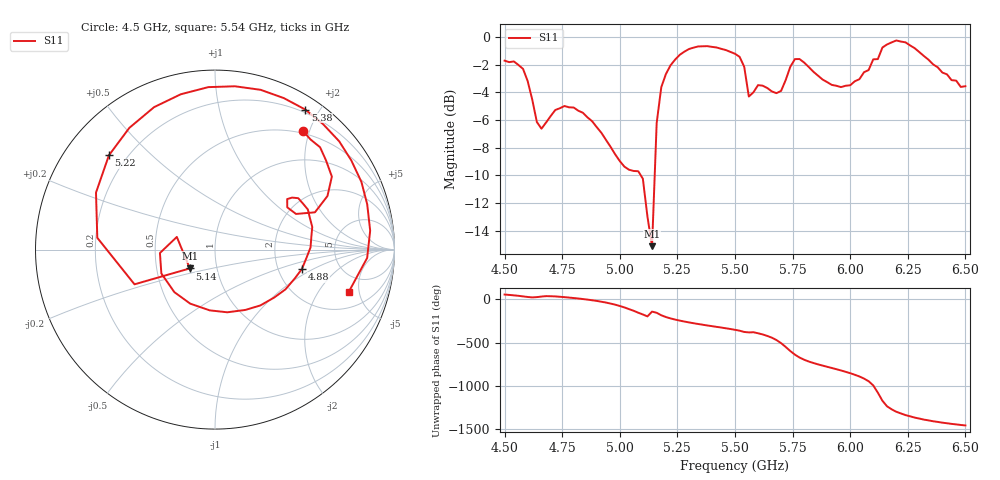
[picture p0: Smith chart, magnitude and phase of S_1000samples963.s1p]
! TOUCHSTONE file generated by CST MICROWAVE STUDIO
! Date and time: Sat Oct 29 22:42:42 2022
! Project name: L.cst
! Parameters = {Di=1.27; Epsilon_r=1.56; InnerDiameter=1.27; Length=2; Lf=10; Lg=60; OuterConductorThickness=0.2921; OuterDiameter=3.6; Wf=3; Wp=41.2; de=1.5; df=6.8; g=0.8; gx=1.50609; gy=0.427079; h=2.34; hf=1.524; px=9.32727; py=14.0924; w=9.7; wx=7.82118; wy=13.6653}
! Header version: 2018
! Port assignment regex: !\s*Touchstone port\s*([0-9]+)\s*=\s*(CST MWS port|CST DS port)\s*([0-9]+|Zmin|Zmax)\s*\(\"(.*)\"\)(\s*mode\s*([0-9]+))?.*
! Touchstone port assignment:
! Touchstone port 1 = CST MWS port 1 ("")
# GHz S DB R 50
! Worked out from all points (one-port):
!   101 points, 4.5 GHz to 6.5 GHz, reference 50 ohm
!   lowest |S11| = -15.1 dB at 5.14 GHz (marker M1), VSWR 1.42, Z = 37 - j8 ohm
!   |S11| at or under -10 dB: 5.091 GHz to 5.152 GHz (60.66 MHz wide, 1.18 % of centre)
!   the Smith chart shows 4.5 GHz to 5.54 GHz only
!   S11 on the Smith chart (normalised r, x): 4.5 GHz: 0.47, +1.90; 4.88 GHz: 2.72, -0.78; 5.14 GHz: 0.74, -0.16; 5.22 GHz: 0.13, +0.37; 5.38 GHz: 0.16, +1.82; 5.54 GHz: 3.23, -3.91
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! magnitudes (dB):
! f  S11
! 4.5 GHz  -1.7
! 4.58 GHz  -2.3
! 4.64 GHz  -6.1
! 4.66 GHz  -6.6
! 4.76 GHz  -5.0
! 4.88 GHz  -6.1
! 5 GHz  -9.0
! 5.1 GHz  -10.2
! 5.14 GHz  -15.1
! 5.16 GHz  -6.2
! 5.18 GHz  -3.6
! 5.22 GHz  -2.0
! 5.26 GHz  -1.3
! 5.38 GHz  -0.6
! 5.5 GHz  -1.2
! 5.54 GHz  -2.1
! 5.56 GHz  -4.3
! 5.6 GHz  -3.5
! 5.68 GHz  -4.1
! 5.7 GHz  -3.9
! 5.76 GHz  -1.6
! 5.92 GHz  -3.5
! 6 GHz  -3.5
! 6.08 GHz  -2.4
! 6.14 GHz  -0.7
! 6.2 GHz  -0.2
! 6.26 GHz  -0.6
! 6.5 GHz  -3.6
